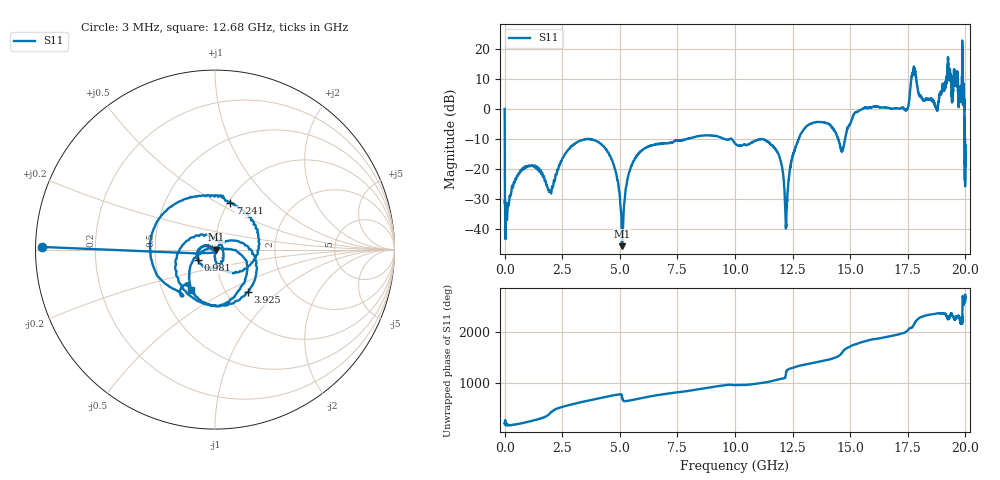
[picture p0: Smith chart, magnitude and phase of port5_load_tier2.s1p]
! Created with skrf 1.8.0 (http://scikit-rf.org).
# GHz S RI R 50.0
!freq ReS11 ImS11
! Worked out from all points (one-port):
!   10001 points, 1 MHz to 20 GHz, reference 50 ohm
!   lowest |S11| = -45.8 dB at 5.101 GHz (marker M1), VSWR 1.01, Z = 50.5 - j0.0887 ohm
!   |S11| at or under -10 dB: 8.115 MHz to 3.57 GHz (3.562 GHz wide, 199 % of centre); 3.666 GHz to 7.927 GHz (4.261 GHz wide, 73.5 % of centre); 9.849 GHz to 12.77 GHz (2.916 GHz wide, 25.8 % of centre) (the widest 3 of 9)
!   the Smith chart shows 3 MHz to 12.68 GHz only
!   S11 on the Smith chart (normalised r, x): 3 MHz: 0.02, +0.01; 981 MHz: 0.82, -0.10; 3.925 GHz: 1.25, -0.65; 7.241 GHz: 1.02, +0.58; 12.68 GHz: 0.70, -0.34
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0.001  -1 0.00101
0.0029999  -0.9639 0.0148
0.1149943  -0.0135 0.0093
0.980951  -0.0948 -0.0595
2.500875  -0.1313 0.0675
3.924804  0.1812 -0.2366
5.00075  0.0254 0.0254
5.100745  0.00506 -0.000878
7.240638  0.0853 0.2612
7.500625  0.0319 0.2986
10.0005  -0.1739 -0.2
12.50038  -0.1348 -0.0897
12.68437  -0.1327 -0.229
14.39828  0.1644 0.3403
15.00025  0.0984 -0.5534
15.57422  0.9897 0.2763
16.40418  -0.094 1.057
17.50013  -0.4948 -0.9064
17.65612  1.364 -2.911
17.75411  4.652 -1.124
17.87811  0.5584 2.796
18.0461  -1.345 1.004
19.04205  -1.812 -1.207
19.26404  -2.085 4.642
19.39003  -1.922 -1.729
19.57602  -1.822 2.333
19.77401  1.41 1.391
20  -0.2364 0.0611
